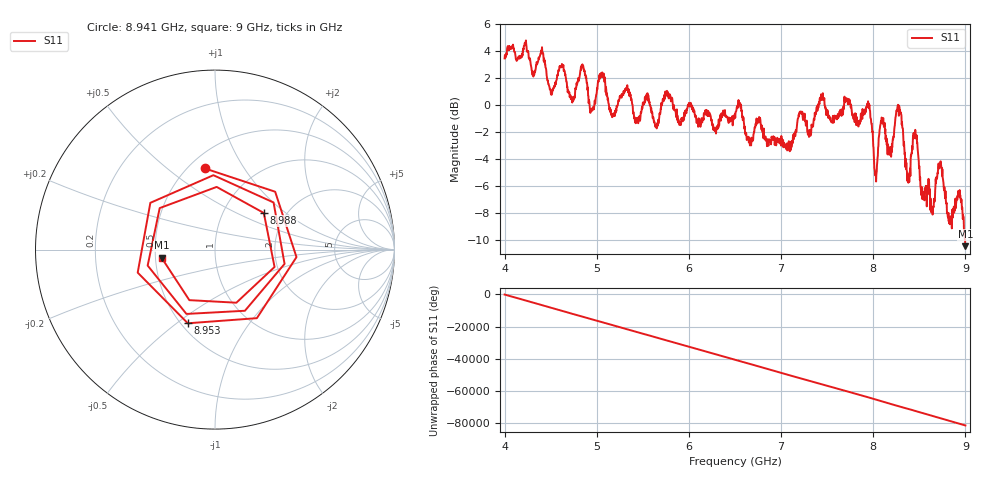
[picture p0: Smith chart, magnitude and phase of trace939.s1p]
! Created with skrf 1.8.0 (http://scikit-rf.org).
# Hz S RI R 50.0
!freq ReS11 ImS11
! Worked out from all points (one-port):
!   1601 points, 4 GHz to 9 GHz, reference 50 ohm
!   lowest |S11| = -10.4 dB at 9 GHz (marker M1), VSWR 1.86, Z = 27 - j2.7 ohm
!   |S11| at or under -10 dB: 8.996612 GHz to end of sweep
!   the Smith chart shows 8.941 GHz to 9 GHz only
!   S11 on the Smith chart (normalised r, x): 8.941 GHz: 0.60, +0.68; 8.953 GHz: 0.54, -0.55; 8.988 GHz: 1.55, +0.71; 9 GHz: 0.54, -0.05
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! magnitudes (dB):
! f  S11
! 4 GHz  3.5
! 4.403 GHz  4.0
! 4.509 GHz  0.8
! 4.625 GHz  2.9
! 4.731 GHz  0.4
! 4.853 GHz  2.9
! 4.947 GHz  -0.4
! 5.05 GHz  2.2
! 5.25 GHz  0.7
! 5.875 GHz  -0.7
! 6.5 GHz  -0.7
! 7.125 GHz  -2.8
! 7.75 GHz  0.1
! 7.947 GHz  0.2
! 8.028 GHz  -5.0
! 8.088 GHz  -1.2
! 8.181 GHz  -3.6
! 8.281 GHz  0.0
! 8.375 GHz  -5.1
! 8.456 GHz  -1.8
! 8.538 GHz  -6.9
! 8.644 GHz  -8.1
! 8.725 GHz  -4.5
! 8.828 GHz  -8.3
! 8.941 GHz  -6.8
! 8.953 GHz  -7.2
! 8.988 GHz  -9.4
! 9 GHz  -10.4
